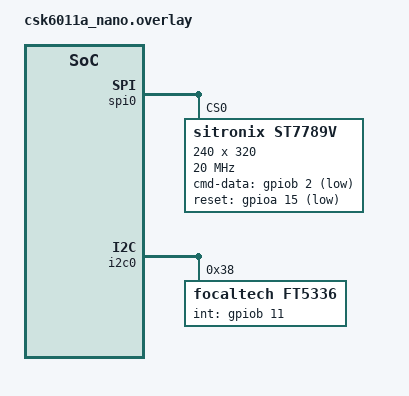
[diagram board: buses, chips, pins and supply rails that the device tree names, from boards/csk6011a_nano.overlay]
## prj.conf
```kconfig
CONFIG_LV_Z_MEM_POOL_NUMBER_BLOCKS=8
CONFIG_MAIN_STACK_SIZE=20480

CONFIG_DISPLAY=y
CONFIG_DISPLAY_LOG_LEVEL_ERR=y

CONFIG_LOG=y

CONFIG_LVGL=y
CONFIG_LV_MEM_CUSTOM=y
CONFIG_LV_USE_LOG=y
CONFIG_LV_USE_LABEL=y
CONFIG_LV_USE_BTN=y
CONFIG_LV_USE_IMG=y
CONFIG_LV_FONT_MONTSERRAT_14=y


CONFIG_HEAP_MEM_POOL_SIZE=16384
CONFIG_LOG=y

CONFIG_GPIO=y

CONFIG_DISPLAY=y
CONFIG_SPI=y

CONFIG_KSCAN=y
CONFIG_I2C=y
CONFIG_KSCAN_FT5336=y
CONFIG_KSCAN_FT5336_INTERRUPT=y

# 触摸驱动
CONFIG_LV_Z_POINTER_KSCAN=y
CONFIG_LV_Z_POINTER_KSCAN_DEV_NAME="FT5336"
CONFIG_LV_Z_POINTER_KSCAN_SWAP_XY=y
CONFIG_LV_Z_POINTER_KSCAN_INVERT_Y=y
CONFIG_LV_Z_POINTER_KSCAN_INVERT_X=y

# 改配置为专为CSK6优化后的ST7789V驱动
CONFIG_ST7789V_CSK6=y

# zephyr原有的驱动也是可以用的，只是帧率没有优化后的高
# CONFIG_ST7789V=y
# 在驱动层可支持90度旋转
CONFIG_ST7789V_CSK6_ROTATE_90=y

# 使用优化后的驱动后，配置此宏可以使用专为优化驱动的LVGL适配层
CONFIG_LV_Z_DRIVER_CSK6_16BIT=y

# 如需要旋转90度的话，zephyr适配层也要配置该宏
# 因ST7789V的IC从GRAM中读取数据的方向不能改变，
# 如果使用驱动IC的方向旋转的话，可能出现斜方向的撕裂
# 但如果在驱动层使用90°旋转的话，则只会存在Y方向的撕裂，
# Y方向的撕裂可以通过加TE引脚来解决
CONFIG_LV_Z_DRIVER_CSK6_16BIT_ROTATE_90=y

CONFIG_LV_Z_DRIVER_CSK6_KSAN_FILTER_TIME_MS=50

# 双缓冲区会提高帧率，占会大量占用内存
# 在开启双缓冲区的情况下，确保LVGL线程不是协程，
# 且COFNIG_LV_Z_DRIVER_SPD2010_THREAD_PRIORITY的优先级必须要高于LVGL线程
# 否则将会发生死锁
# 
CONFIG_LV_Z_DOUBLE_VDB=y
CONFIG_LV_Z_DRIVER_CSK6_16BIT_THREAD_PRIORITY=1
CONFIG_MAIN_THREAD_PRIORITY=2

CONFIG_LV_Z_VDB_SIZE=100

### 专为CSK6优化的LVGL适配层，可以自定义heap

# LVGL-ZEPHYR接口 自定义heap段
CONFIG_LV_Z_MEM_CUSTOM_SECTION=y
CONFIG_LV_Z_MEM_CUSTOM_SECTION_NAME=".psram_section"

# 自定义内存的大小配置，包含所有的LVGL对象  
CONFIG_LV_Z_MEM_POOL_MAX_SIZE=1024
CONFIG_LV_Z_MEM_POOL_NUMBER_BLOCKS=500

# 使用PSRAM的话，必须打开这个宏，这样所有的LVGL对象都从自定义段中分配内存  
CONFIG_LV_MEM_CUSTOM=y

## LVGL显存内存池配置，使用PSRAM的话 必须打开这个宏
CONFIG_LV_Z_BUFFER_ALLOC_DYNAMIC=y

CONFIG_LV_FONT_MONTSERRAT_18=y
CONFIG_LV_FONT_MONTSERRAT_12=y
CONFIG_LV_USE_DEMO_BENCHMARK=y
CONFIG_LV_USE_DEMO_WIDGETS=y
CONFIG_LV_COLOR_DEPTH_16=y
CONFIG_LV_COLOR_16_SWAP=n

CONFIG_LV_USE_PERF_MONITOR=y
CONFIG_LV_PERF_MONITOR_ALIGN_BOTTOM_RIGHT=y
```

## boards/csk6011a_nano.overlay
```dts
/*
 * Copyright (c) 2023 Anhui(Shenzhen) Listenai Co., Ltd.
 *
 * SPDX-License-Identifier: Apache-2.0
 */
&pinctrl {

	pinctrl_i2c0_scl_default: i2c0_scl_default{
		pinctrls = <I2C0_SCL_GPIOB_04>;
	};

	pinctrl_i2c0_sda_default: i2c0_sda_default{
		pinctrls = <I2C0_SDA_GPIOB_03>;
	};

	pinctrl_spi0_sclk_default: spi0_sclk_default {
		pinctrls = <&pinmuxb 1 6>;
	};
	pinctrl_spi0_mosi_default: spi0_mosi_default {
		pinctrls = <&pinmuxb 10 6>;
	};
	pinctrl_spi0_miso_default: spi0_miso_default {
		pinctrls = <&pinmuxa 17 6>;
	};
	pinctrl_spi0_cs_default: spi0_cs_default {
		pinctrls = <&pinmuxb 0 6>;
	};

};

&spi0 {
	status = "okay";
	pinctrl-0 = <&pinctrl_spi0_sclk_default &pinctrl_spi0_mosi_default &pinctrl_spi0_miso_default &pinctrl_spi0_cs_default>;
	pinctrl-names = "default";

	st7789v:st7789v@0 {
		compatible = "sitronix,st7789v";
		label = "ST7789V";
		status = "okay";
		spi-max-frequency = <20000000>;
		reg = <0>;
		cmd-data-gpios = <&gpiob 2 1>;
		reset-gpios = <&gpioa 15 1>;
		width = <240>;
		height = <320>;
		x-offset = <0>;
		y-offset = <0>;
		// reg: 0xBB
		vcom = <0x1e>;
		// reg: 0xB7
		gctrl = <0x35>;
		// reg: 0xC3
		vrhs = <0x0b>;
		// reg: 0xC4
		vdvs = <0x20>;
		// reg: 0x36
		mdac = <0x03>;
		// reg: 0x26
		gamma = <0x01>;
		// reg: 0x3a
		colmod = <0x05>;
		// reg: 0xc0
		lcm = <0x3c>;
		// reg: 0xb2
		porch-param = [ 0c 0c 00 33 33  ];
		// reg: 0xDF
		cmd2en-param = [ 5a 69 02 01  ];
		// reg: 0xD0
		pwctrl1-param = [ a4 a1  ];
		// reg: 0xE0
		pvgam-param = [ d0 06 0b 07 07 24 2e 32 46 37 13 13 2d 33  ];
		// reg: 0xE1
		nvgam-param = [ d0 02 06 09 08 05 29 44 42 38 14 14 2a 30  ];
		// reg: b0
		ram-param = [ 00 F0  ];
		// reg: b1
		rgb-param = [ CD 08 14  ];
	};
};

&i2c0 {
	status = "okay";
	pinctrl-0 = <&pinctrl_i2c0_scl_default &pinctrl_i2c0_sda_default>;
	pinctrl-names = "default";
	ft5336@0 {
		compatible = "focaltech,ft5336";
		reg = <56>;
		label = "FT5336";
		status = "okay";
		int-gpios = <&gpiob 11 0>;
	};
};


/ {
	chosen {
		zephyr,display=&st7789v;
	};
};
```

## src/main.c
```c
/*
 * Copyright (c) 2018 Jan Van Winkel <jan.van_winkel@dxplore.eu>
 *
 * SPDX-License-Identifier: Apache-2.0
 */

#include <zephyr/device.h>
#include <zephyr/drivers/display.h>
#include <lvgl.h>
#include <stdio.h>
#include <string.h>
#include <zephyr/zephyr.h>

#define LOG_LEVEL CONFIG_LOG_DEFAULT_LEVEL
#include <zephyr/logging/log.h>
LOG_MODULE_REGISTER(app);

void main(void)
{
	const struct device *display_dev;

	display_dev = DEVICE_DT_GET(DT_CHOSEN(zephyr_display));
	if (!device_is_ready(display_dev)) {
		LOG_ERR("Device not ready, aborting test");
		return;
	}

	display_blanking_off(display_dev);
	extern void lv_demo_benchmark(void);
	extern void lv_demo_widgets(void);

	lv_demo_widgets();
	// lv_demo_benchmark();

	lv_task_handler();

	while (1) {
		lv_task_handler();
		k_sleep(K_MSEC(30));
	}
}
```
